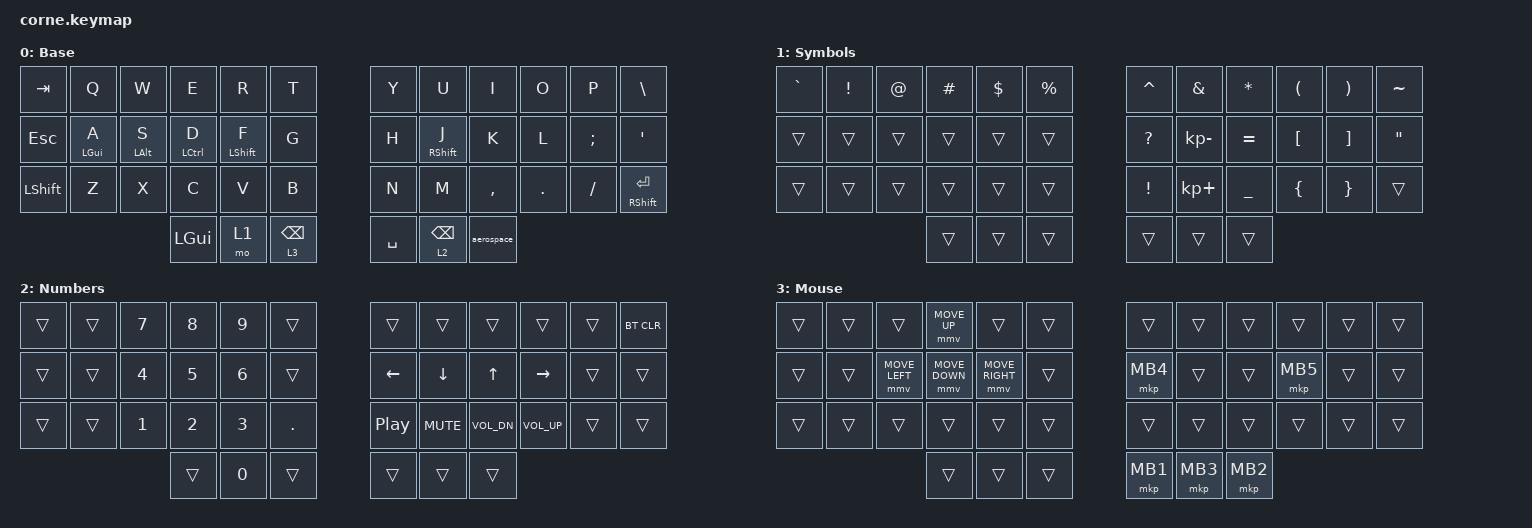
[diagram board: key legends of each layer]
/*
 * Copyright (c) 2020 The ZMK Contributors
 *
 * SPDX-License-Identifier: MIT
 */

#include <behaviors.dtsi>
#include <dt-bindings/zmk/bt.h>
#include <dt-bindings/zmk/keys.h>
#include <dt-bindings/zmk/pointing.h>
#include <dt-bindings/zmk/pointing.h>

/ {
    combos {
        compatible = "zmk,combos";

        combo_esc {
            bindings = <&kp ESC>;
            key-positions = <1 2>;
        };

        under {
            bindings = <&kp UNDERSCORE>;
            key-positions = <32 33>;
        };

        caps_word {
            bindings = <&caps_word>;
            key-positions = <38 39>;
        };

        dw {
            bindings = <&kp LA(BACKSPACE)>;
            key-positions = <2 15>;
        };
    };

    behaviors {
        HML: HML {
            compatible = "zmk,behavior-hold-tap";
            label = "HML";
            bindings = <&kp>, <&kp>;

            #binding-cells = <2>;
            tapping-term-ms = <150>;
            quick-tap-ms = <125>;
            require-prior-idle-ms = <100>;
            flavor = "tap-unless-interrupted";
            hold-trigger-key-positions = <36 37 38 6 7 9 10 11 18 19 20 21 22 23 30 31 32 33 34 35 40 41 8 39>;
        };

        SFENT: SFENT {
            compatible = "zmk,behavior-hold-tap";
            label = "SFENT";
            bindings = <&kp>, <&kp>;

            #binding-cells = <2>;
            tapping-term-ms = <200>;
        };

        HMR: HMR {
            compatible = "zmk,behavior-hold-tap";
            label = "HMR";
            bindings = <&kp>, <&kp>;

            #binding-cells = <2>;
            tapping-term-ms = <200>;
            quick-tap-ms = <175>;
            require-prior-idle-ms = <100>;
            flavor = "tap-unless-interrupted";
            hold-trigger-key-positions = <39 40 41 0 1 2 3 4 5 12 13 14 15 16 17 24 25 26 27 28 29 36 37 38>;
        };

        HML_B: HML_B {
            compatible = "zmk,behavior-hold-tap";
            label = "HML_B";
            bindings = <&kp>, <&kp>;

            #binding-cells = <2>;
            tapping-term-ms = <200>;
            quick-tap-ms = <175>;
            require-prior-idle-ms = <100>;
            flavor = "balanced";
            hold-trigger-key-positions = <6 7 8 9 10 11 18 19 20 21 22 23 30 31 32 33 34 35 40 41 36 37 38 39>;
        };

        BKSP_RAISE: BKSP_RAISE {
            compatible = "zmk,behavior-hold-tap";
            label = "BKSP_RAISE";
            bindings = <&mo>, <&kp>;

            #binding-cells = <2>;
            tapping-term-ms = <200>;
            quick-tap-ms = <175>;
            require-prior-idle-ms = <100>;
        };

        aerospace: aerospace {
            compatible = "zmk,behavior-tap-dance";
            label = "AEROSPACE";
            #binding-cells = <0>;
            bindings = <&kp RALT>, <&sk LS(RALT)>;
        };

        bksp_tap: bksp_tap {
            compatible = "zmk,behavior-hold-tap";
            label = "BKSP_TAP";
            bindings = <&mo>, <&kp>;

            #binding-cells = <2>;
            tapping-term-ms = <200>;
            quick-tap-ms = <175>;
            require-prior-idle-ms = <100>;
            flavor = "tap-preferred";
        };
    };

    keymap {
        compatible = "zmk,keymap";

        default_layer {
            // -----------------------------------------------------------------------------------------
            // |  TAB |  Q  |  W  |  E  |  R  |  T  |   |  Y  |  U   |  I  |  O  |  P  | BKSP |
            // | CTRL |  A  |  S  |  D  |  F  |  G  |   |  H  |  J   |  K  |  L  |  ;  |  '   |
            // | SHFT |  Z  |  X  |  C  |  V  |  B  |   |  N  |  M   |  ,  |  .  |  /  | ESC  |
            //                    | GUI | LWR | SPC |   | ENT | RSE  | ALT |

            label = "Base";
            bindings = <
&kp TAB    &kp Q              &kp W          &kp E           &kp R         &kp T                    &kp Y      &kp U                    &kp I       &kp O    &kp P     &kp BACKSLASH
&kp ESC    &HML_B LEFT_GUI A  &HML_B LALT S  &HML_B LCTRL D  &HML LSHFT F  &kp G                    &kp H      &HMR RSHFT J             &kp K       &kp L    &kp SEMI  &kp SQT
&kp LSHFT  &kp Z              &kp X          &kp C           &kp V         &kp B                    &kp N      &kp M                    &kp COMMA   &kp DOT  &kp FSLH  &SFENT RSHFT ENTER
                                             &kp LGUI        &mo 1         &bksp_tap 3 BACKSPACE    &kp SPACE  &BKSP_RAISE 2 BACKSPACE  &aerospace
            >;
        };

        lower_layer {
            // -----------------------------------------------------------------------------------------
            // |  TAB |  1  |  2  |  3  |  4  |  5  |   |  6  |  7  |  8  |  9  |  0  | BKSP |
            // | BTCLR| BT1 | BT2 | BT3 | BT4 | BT5 |   | LFT | DWN |  UP | RGT |     |      |
            // | SHFT |     |     |     |     |     |   |     |     |     |     |     |      |
            //                    | GUI |     | SPC |   | ENT |     | ALT |

            label = "Symbols";
            bindings = <
&kp GRAVE  &kp EXCLAMATION  &kp AT_SIGN  &kp POUND  &kp DOLLAR  &kp PERCENT    &kp CARET        &kp AMPERSAND  &kp ASTERISK    &kp LEFT_PARENTHESIS  &kp RIGHT_PARENTHESIS  &kp TILDE
&trans     &trans           &trans       &trans     &trans      &trans         &kp QUESTION     &kp KP_MINUS   &kp EQUAL       &kp LEFT_BRACKET      &kp RIGHT_BRACKET      &kp DOUBLE_QUOTES
&trans     &trans           &trans       &trans     &trans      &trans         &kp EXCLAMATION  &kp KP_PLUS    &kp UNDERSCORE  &kp LEFT_BRACE        &kp RIGHT_BRACE        &trans
                                         &trans     &trans      &trans         &trans           &trans         &trans
            >;
        };

        raise_layer {
            // -----------------------------------------------------------------------------------------
            // |  TAB |  !  |  @  |  #  |  $  |  %  |   |  ^  |  &  |  *  |  (  |  )  | BKSP |
            // | CTRL |     |     |     |     |     |   |  -  |  =  |  [  |  ]  |  \  |  `   |
            // | SHFT |     |     |     |     |     |   |  _  |  +  |  {  |  }  | "|" |  ~   |
            //                    | GUI |     | SPC |   | ENT |     | ALT |

            label = "Numbers";
            bindings = <
&trans  &trans  &kp N7  &kp N8  &kp N9  &trans        &trans            &trans      &trans        &trans        &trans  &bt BT_CLR
&trans  &trans  &kp N4  &kp N5  &kp N6  &trans        &kp LEFT          &kp DOWN    &kp UP        &kp RIGHT     &trans  &trans
&trans  &trans  &kp N1  &kp N2  &kp N3  &kp PERIOD    &kp C_PLAY_PAUSE  &kp K_MUTE  &kp C_VOL_DN  &kp C_VOL_UP  &trans  &trans
                        &trans  &kp N0  &trans        &trans            &trans      &trans
            >;
        };

        mouse {
            label = "Mouse";
            bindings = <
&trans  &trans  &trans          &mmv MOVE_UP    &trans           &trans    &trans    &trans    &trans    &trans    &trans  &trans
&trans  &trans  &mmv MOVE_LEFT  &mmv MOVE_DOWN  &mmv MOVE_RIGHT  &trans    &mkp MB4  &trans    &trans    &mkp MB5  &trans  &trans
&trans  &trans  &trans          &trans          &trans           &trans    &trans    &trans    &trans    &trans    &trans  &trans
                                &trans          &trans           &trans    &mkp MB1  &mkp MB3  &mkp MB2
            >;
        };
    };
};
